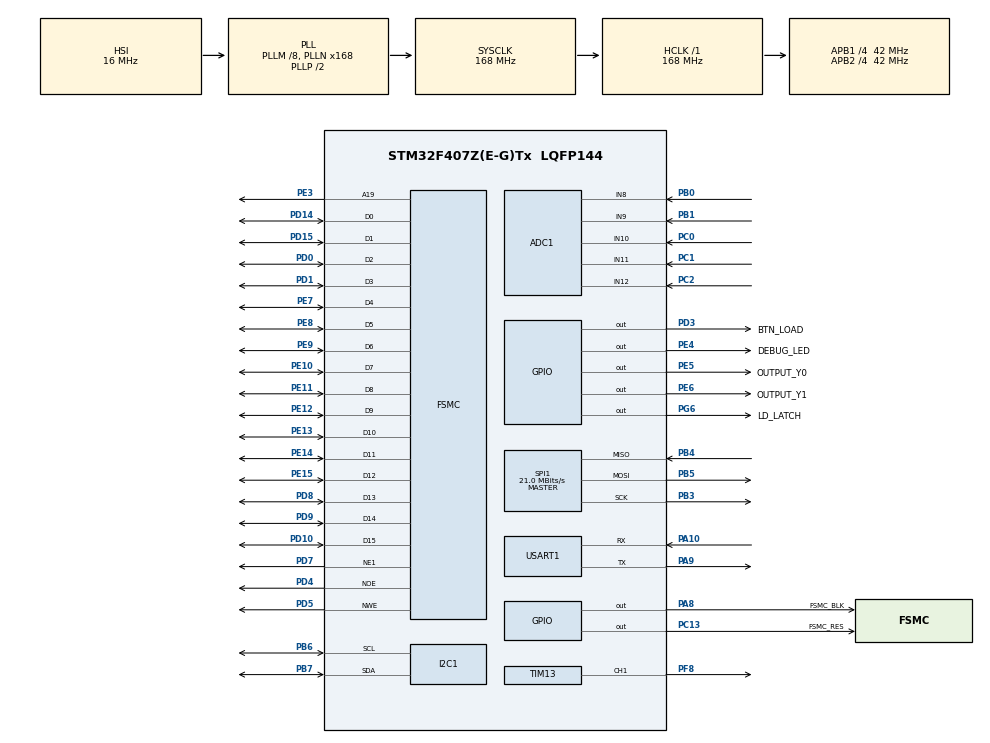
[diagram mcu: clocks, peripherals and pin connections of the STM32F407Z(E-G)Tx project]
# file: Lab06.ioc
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ADC1.Channel-0\#ChannelRegularConversion=ADC_CHANNEL_8
ADC1.Channel-1\#ChannelRegularConversion=ADC_CHANNEL_9
ADC1.Channel-2\#ChannelRegularConversion=ADC_CHANNEL_10
ADC1.Channel-3\#ChannelRegularConversion=ADC_CHANNEL_11
ADC1.Channel-4\#ChannelRegularConversion=ADC_CHANNEL_12
ADC1.NbrOfConversion=5
ADC1.NbrOfConversionFlag=1
ADC1.Rank-0\#ChannelRegularConversion=1
ADC1.Rank-1\#ChannelRegularConversion=2
ADC1.Rank-2\#ChannelRegularConversion=3
ADC1.Rank-3\#ChannelRegularConversion=4
ADC1.Rank-4\#ChannelRegularConversion=5
ADC1.SamplingTime-0\#ChannelRegularConversion=ADC_SAMPLETIME_3CYCLES
ADC1.SamplingTime-1\#ChannelRegularConversion=ADC_SAMPLETIME_3CYCLES
ADC1.SamplingTime-2\#ChannelRegularConversion=ADC_SAMPLETIME_3CYCLES
ADC1.SamplingTime-3\#ChannelRegularConversion=ADC_SAMPLETIME_3CYCLES
ADC1.SamplingTime-4\#ChannelRegularConversion=ADC_SAMPLETIME_3CYCLES
ADC1.ScanConvMode=ENABLE
ADC1.master=1
Dma.ADC1.0.Direction=DMA_PERIPH_TO_MEMORY
Dma.ADC1.0.FIFOMode=DMA_FIFOMODE_DISABLE
Dma.ADC1.0.Instance=DMA2_Stream0
Dma.ADC1.0.MemDataAlignment=DMA_MDATAALIGN_HALFWORD
Dma.ADC1.0.MemInc=DMA_MINC_ENABLE
Dma.ADC1.0.Mode=DMA_CIRCULAR
Dma.ADC1.0.PeriphDataAlignment=DMA_PDATAALIGN_HALFWORD
Dma.ADC1.0.PeriphInc=DMA_PINC_DISABLE
Dma.ADC1.0.Priority=DMA_PRIORITY_LOW
Dma.Request0=ADC1
FSMC.AddressSetupTime1=0xf
FSMC.BusTurnAroundDuration1=0
FSMC.DataSetupTime1=60
FSMC.ExtendedAddressSetupTime1=8
FSMC.ExtendedBusTurnAroundDuration1=0
FSMC.ExtendedDataSetupTime1=9
FSMC.ExtendedMode1=FSMC_EXTENDED_MODE_ENABLE
Mcu.Family=STM32F4
Mcu.Name=STM32F407Z(E-G)Tx
Mcu.Package=LQFP144
NVIC.DMA2_Stream0_IRQn=true\:0\:0\:false\:false\:true\:false\:true
NVIC.PriorityGroup=NVIC_PRIORITYGROUP_4
NVIC.TIM2_IRQn=true\:0\:0\:false\:false\:true\:true\:true
NVIC.USART1_IRQn=true\:0\:0\:false\:false\:true\:true\:true
PA10.Mode=Asynchronous
PA10.Signal=USART1_RX
PA13.Mode=Serial_Wire
PA13.Signal=SYS_JTMS-SWDIO
PA14.Mode=Serial_Wire
PA14.Signal=SYS_JTCK-SWCLK
PA8.GPIO_Label=FSMC_BLK
PA8.Signal=GPIO_Output
PA9.Mode=Asynchronous
PA9.Signal=USART1_TX
PB0.Signal=ADCx_IN8
PB1.Signal=ADCx_IN9
PB3.Mode=Full_Duplex_Master
PB3.Signal=SPI1_SCK
PB4.Mode=Full_Duplex_Master
PB4.Signal=SPI1_MISO
PB5.Mode=Full_Duplex_Master
PB5.Signal=SPI1_MOSI
PB6.Mode=I2C
PB6.Signal=I2C1_SCL
PB7.Mode=I2C
PB7.Signal=I2C1_SDA
PC0.Signal=ADCx_IN10
PC1.Signal=ADCx_IN11
PC13-ANTI_TAMP.GPIO_Label=FSMC_RES
PC13-ANTI_TAMP.Signal=GPIO_Output
PC2.Signal=ADCx_IN12
PD0.Signal=FSMC_D2_DA2
PD1.Signal=FSMC_D3_DA3
PD10.Signal=FSMC_D15_DA15
PD14.Signal=FSMC_D0_DA0
PD15.Signal=FSMC_D1_DA1
PD3.GPIO_Label=BTN_LOAD
PD3.Signal=GPIO_Output
PD4.Signal=FSMC_NOE
PD5.Signal=FSMC_NWE
PD7.Mode=NorPsramChipSelect1_1
PD7.Signal=FSMC_NE1
PD8.Signal=FSMC_D13_DA13
PD9.Signal=FSMC_D14_DA14
PE10.Signal=FSMC_D7_DA7
PE11.Signal=FSMC_D8_DA8
PE12.Signal=FSMC_D9_DA9
PE13.Signal=FSMC_D10_DA10
PE14.Signal=FSMC_D11_DA11
PE15.Signal=FSMC_D12_DA12
PE3.Signal=FSMC_A19
PE4.GPIO_Label=DEBUG_LED
PE4.Signal=GPIO_Output
PE5.GPIO_Label=OUTPUT_Y0
PE5.Signal=GPIO_Output
PE6.GPIO_Label=OUTPUT_Y1
PE6.Signal=GPIO_Output
PE7.Signal=FSMC_D4_DA4
PE8.Signal=FSMC_D5_DA5
PE9.Signal=FSMC_D6_DA6
PF8.Signal=S_TIM13_CH1
PG6.GPIO_Label=LD_LATCH
PG6.Signal=GPIO_Output
PH0-OSC_IN.Mode=HSE-External-Oscillator
PH0-OSC_IN.Signal=RCC_OSC_IN
PH1-OSC_OUT.Mode=HSE-External-Oscillator
PH1-OSC_OUT.Signal=RCC_OSC_OUT
ProjectManager.HeapSize=0x200
ProjectManager.StackSize=0x400
ProjectManager.TargetToolchain=STM32CubeIDE
RCC.48MHZClocksFreq_Value=84000000
RCC.AHBFreq_Value=168000000
RCC.APB1CLKDivider=RCC_HCLK_DIV4
RCC.APB1Freq_Value=42000000
RCC.APB1TimFreq_Value=84000000
RCC.APB2CLKDivider=RCC_HCLK_DIV4
RCC.APB2Freq_Value=42000000
RCC.APB2TimFreq_Value=84000000
RCC.CortexFreq_Value=168000000
RCC.HCLKFreq_Value=168000000
RCC.HSE_VALUE=8000000
RCC.HSI_VALUE=16000000
RCC.LSE_VALUE=32768
RCC.PLLM=8
RCC.PLLN=168
RCC.SYSCLKFreq_VALUE=168000000
RCC.SYSCLKSource=RCC_SYSCLKSOURCE_PLLCLK
RCC.VCOOutputFreq_Value=336000000
SH.ADCx_IN10.0=ADC1_IN10,IN10
SH.ADCx_IN11.0=ADC1_IN11,IN11
SH.ADCx_IN12.0=ADC1_IN12,IN12
SH.ADCx_IN8.0=ADC1_IN8,IN8
SH.ADCx_IN9.0=ADC1_IN9,IN9
SH.FSMC_A19.0=FSMC_A19,A19_1
SH.FSMC_D0_DA0.0=FSMC_D0,16b-d1
SH.FSMC_D10_DA10.0=FSMC_D10,16b-d1
SH.FSMC_D11_DA11.0=FSMC_D11,16b-d1
SH.FSMC_D12_DA12.0=FSMC_D12,16b-d1
SH.FSMC_D13_DA13.0=FSMC_D13,16b-d1
SH.FSMC_D14_DA14.0=FSMC_D14,16b-d1
SH.FSMC_D15_DA15.0=FSMC_D15,16b-d1
SH.FSMC_D1_DA1.0=FSMC_D1,16b-d1
SH.FSMC_D2_DA2.0=FSMC_D2,16b-d1
SH.FSMC_D3_DA3.0=FSMC_D3,16b-d1
SH.FSMC_D4_DA4.0=FSMC_D4,16b-d1
SH.FSMC_D5_DA5.0=FSMC_D5,16b-d1
SH.FSMC_D6_DA6.0=FSMC_D6,16b-d1
SH.FSMC_D7_DA7.0=FSMC_D7,16b-d1
SH.FSMC_D8_DA8.0=FSMC_D8,16b-d1
SH.FSMC_D9_DA9.0=FSMC_D9,16b-d1
SH.FSMC_NOE.0=FSMC_NOE,Lcd1
SH.FSMC_NWE.0=FSMC_NWE,Lcd1
SH.S_TIM13_CH1.0=TIM13_CH1,PWM Generation1 CH1
SPI1.CalculateBaudRate=21.0 MBits/s
SPI1.Direction=SPI_DIRECTION_2LINES
SPI1.Mode=SPI_MODE_MASTER
SPI1.VirtualType=VM_MASTER
TIM13.Channel=TIM_CHANNEL_1
TIM13.Prescaler=840-1
TIM2.Period=100-1
TIM2.Prescaler=840-1
USART1.VirtualMode=VM_ASYNC
VP_TIM13_VS_ClockSourceINT.Mode=Enable_Timer
VP_TIM2_VS_ClockSourceINT.Mode=Internal
board=custom

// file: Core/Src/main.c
/* USER CODE BEGIN Header */
/**
  ******************************************************************************
  * @file           : main.c
  * @brief          : Main program body
  ******************************************************************************
  * @attention
  *
  * <h2><center>&copy; Copyright (c) 2024 STMicroelectronics.
  * All rights reserved.</center></h2>
  *
  * This software component is licensed by ST under BSD 3-Clause license,
  * the "License"; You may not use this file except in compliance with the
  * License. You may obtain a copy of the License at:
  *                        opensource.org/licenses/BSD-3-Clause
  *
  ******************************************************************************
  */
/* USER CODE END Header */
#include "main.h"
#include "adc.h"
#include "dma.h"
#include "i2c.h"
#include "spi.h"
#include "tim.h"
#include "usart.h"
#include "gpio.h"
#include "fsmc.h"

/* USER CODE BEGIN Includes */
#include "lcd.h"
#include "timer.h"
#include "button.h"
#include "buzzer.h"
#include "sensor.h"
#include "ds3231.h"
#include "uart.h"
#include "led_7seg_display.h"
#include "draw_graph.h"
/* USER CODE END Includes */

void SystemClock_Config(void);
/* USER CODE BEGIN PFP */
void system_init();
void test_LedDebug();
void test_Buzzer();
void test_Adc();
void test_Uart();
/* USER CODE END PFP */

int main(void)
{

  /* MCU Configuration--------------------------------------------------------*/

  /* Reset of all peripherals, Initializes the Flash interface and the Systick. */
  HAL_Init();

  /* Configure the system clock */
  SystemClock_Config();

  /* Initialize all configured peripherals */
  MX_GPIO_Init();
  MX_FSMC_Init();
  MX_SPI1_Init();
  MX_TIM2_Init();
  MX_I2C1_Init();
  MX_DMA_Init();
  MX_ADC1_Init();
  MX_USART1_UART_Init();
  MX_TIM13_Init();
  /* USER CODE BEGIN 2 */
  system_init();
  /* USER CODE END 2 */

  /* Infinite loop */
  /* USER CODE BEGIN WHILE */
  lcd_Clear(BLACK);
  while (1)
  {
    /* USER CODE END WHILE */

    /* USER CODE BEGIN 3 */
	  if (timer_flag[3] == 1) {
	  	  setTimer(3, DEBUG_LED_TIME);
	  	  HAL_GPIO_TogglePin(DEBUG_LED_GPIO_Port, DEBUG_LED_Pin);
	  	}
	  if (timer_flag[0] == 1) {
		  setTimer(0, COLON_BLINK_TIME);
		  updateColon();
	  }
	  if (timer_flag[1] == 1) {
		  setTimer(1, ONE_MINUTE_TIME);
		  updateTime();
		  displayTime();
	  }
	  	if (timer_flag[2] == 1) {
	  	  setTimer(2, BUTTON_READING_TIME);
	  	  button_Scan();
	  	  test_Adc();
	  	  test_Buzzer();
	  	  ds3231_ReadTime();
	  	  test_Uart();
	  	}
	  	if (timer_flag[4] == 1) {
	  		setTimer(4, GET_DATA_TIME);
	  		draw_graph();
	  	}
  }
  /* USER CODE END 3 */
}

void SystemClock_Config(void)
{
  RCC_OscInitTypeDef RCC_OscInitStruct = {0};
  RCC_ClkInitTypeDef RCC_ClkInitStruct = {0};

  /** Configure the main internal regulator output voltage
  */
  __HAL_RCC_PWR_CLK_ENABLE();
  __HAL_PWR_VOLTAGESCALING_CONFIG(PWR_REGULATOR_VOLTAGE_SCALE1);
  /** Initializes the RCC Oscillators according to the specified parameters
  * in the RCC_OscInitTypeDef structure.
  */
  RCC_OscInitStruct.OscillatorType = RCC_OSCILLATORTYPE_HSI;
  RCC_OscInitStruct.HSIState = RCC_HSI_ON;
  RCC_OscInitStruct.HSICalibrationValue = RCC_HSICALIBRATION_DEFAULT;
  RCC_OscInitStruct.PLL.PLLState = RCC_PLL_ON;
  RCC_OscInitStruct.PLL.PLLSource = RCC_PLLSOURCE_HSI;
  RCC_OscInitStruct.PLL.PLLM = 8;
  RCC_OscInitStruct.PLL.PLLN = 168;
  RCC_OscInitStruct.PLL.PLLP = RCC_PLLP_DIV2;
  RCC_OscInitStruct.PLL.PLLQ = 4;
  if (HAL_RCC_OscConfig(&RCC_OscInitStruct) != HAL_OK)
  {
    Error_Handler();
  }
  /** Initializes the CPU, AHB and APB buses clocks
  */
  RCC_ClkInitStruct.ClockType = RCC_CLOCKTYPE_HCLK|RCC_CLOCKTYPE_SYSCLK
                              |RCC_CLOCKTYPE_PCLK1|RCC_CLOCKTYPE_PCLK2;
  RCC_ClkInitStruct.SYSCLKSource = RCC_SYSCLKSOURCE_PLLCLK;
  RCC_ClkInitStruct.AHBCLKDivider = RCC_SYSCLK_DIV1;
  RCC_ClkInitStruct.APB1CLKDivider = RCC_HCLK_DIV4;
  RCC_ClkInitStruct.APB2CLKDivider = RCC_HCLK_DIV4;

  if (HAL_RCC_ClockConfig(&RCC_ClkInitStruct, FLASH_LATENCY_5) != HAL_OK)
  {
    Error_Handler();
  }
}

/* USER CODE BEGIN 4 */
void system_init() {
  initTimer();
  button_init();
  lcd_init();
  sensor_init();
  buzzer_init();
  displayTime();
  uart_init_rs232();
}

////// -------- ///////

uint8_t count_led_debug = 0;

uint8_t isButtonUp()
{
    if (button_count[3] == 1)
        return 1;
    else
        return 0;
}

uint8_t isButtonDown()
{
    if (button_count[7] == 1)
        return 1;
    else
        return 0;
}

uint8_t isButtonRight()
{
    if (button_count[11] == 1)
        return 1;
    else
        return 0;
}

uint8_t count_adc = 0;

void test_Adc(){
	count_adc = (count_adc + 1)%20;
	if(count_adc == 0){
		sensor_Read();
//		lcd_ShowStr(10, 220, "Power:", RED, BLACK, 16, 0);
//		lcd_ShowFloatNum(130, 220,sensor_GetVoltage()*sensor_GetCurrent(), 4, RED, BLACK, 16);
//
//		lcd_ShowStr(10, 240, "Voltage:", RED, BLACK, 16, 0);
//		lcd_ShowFloatNum(130, 240,sensor_GetVoltage(), 4, RED, BLACK, 16);
//
//		lcd_ShowStr(10, 260, "Current", RED, BLACK, 16, 0);
//		lcd_ShowFloatNum(130, 260, sensor_GetCurrent(), 4, RED, BLACK, 16);

//		lcd_ShowStr(10, 100, "Power:", RED, BLACK, 16, 0);
//		lcd_ShowFloatNum(130, 100,sensor_GetVoltage()*sensor_GetCurrent(), 4, RED, BLACK, 16);
//
//		lcd_ShowStr(10, 120, "Light:", RED, BLACK, 16, 0);
//		lcd_ShowIntNum(130, 120, sensor_GetLight(), 4, RED, BLACK, 16);
//
//		lcd_ShowStr(10, 140, "Temperature:", RED, BLACK, 16, 0);
//		lcd_ShowFloatNum(130, 140, sensor_GetTemperature(), 4, RED, BLACK, 16);
//
//		lcd_ShowStr(10, 160, "Humidity:", RED, BLACK, 16, 0);
//		lcd_ShowFloatNum(130, 160, (float)sensor_GetPotentiometer()*100.0/4095, 4, RED, BLACK, 16);
	}
}

void test_Buzzer(){
	if(isButtonUp()){
		buzzer_SetVolume(50);
	}

	if(isButtonDown()){
		buzzer_SetVolume(0);
	}

	if(isButtonRight()){
		buzzer_SetVolume(25);
	}

}
void test_Uart(){
  if(button_count[12] == 1){
	uart_Rs232SendNum(ds3231_hours);
    uart_Rs232SendString(":");
    uart_Rs232SendNum(ds3231_min);
    uart_Rs232SendString(":");
    uart_Rs232SendNum(ds3231_sec);
    uart_Rs232SendString("\n");

    uart_Rs232SendString("Power:");
	uart_Rs232SendNumPercent(sensor_GetVoltage()*sensor_GetCurrent()*100);
	uart_Rs232SendString("\n");

    uart_Rs232SendString("Light:");
	uart_Rs232SendNum(sensor_GetLight());
	uart_Rs232SendString("\n");

	uart_Rs232SendString("Temperature:");
	uart_Rs232SendNumPercent(sensor_GetTemperature()*100);
	uart_Rs232SendString("\n");

	uart_Rs232SendString("Humidity:");
	uart_Rs232SendNumPercent(sensor_GetPotentiometer()*100.0/4095*100);
	uart_Rs232SendString("\n");
	uart_Rs232SendString("------\n");
  }
}
/* USER CODE END 4 */

void Error_Handler(void)
{
  __disable_irq();
  while (1)
  {
  }
}

/************************ (C) COPYRIGHT STMicroelectronics *****END OF FILE****/
